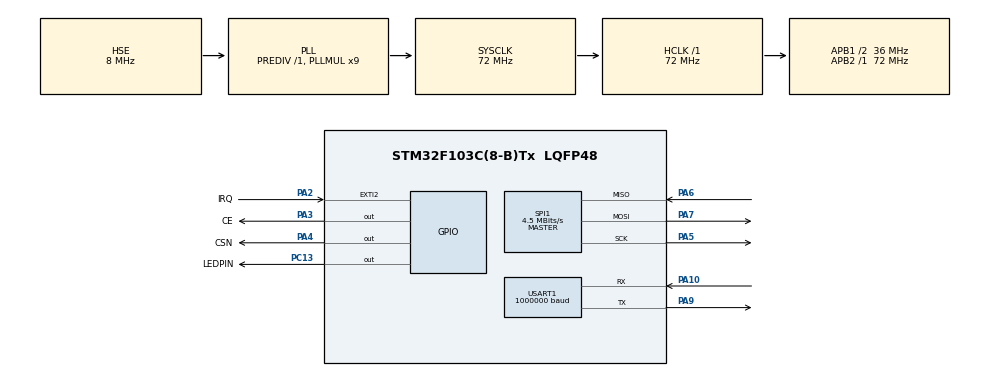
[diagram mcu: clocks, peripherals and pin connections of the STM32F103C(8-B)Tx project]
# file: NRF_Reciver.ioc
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Mcu.Family=STM32F1
RCC.PLLSourceVirtual=RCC_PLLSOURCE_HSE
PA6.Mode=Full_Duplex_Master
PA7.Mode=Full_Duplex_Master
PD1-OSC_OUT.Mode=HSE-External-Oscillator
PA10.Mode=Asynchronous
SPI1.VirtualType=VM_MASTER
USART1.BaudRate=1000000
PC13-TAMPER-RTC.Signal=GPIO_Output
PD0-OSC_IN.Signal=RCC_OSC_IN
RCC.APB1CLKDivider=RCC_HCLK_DIV2
RCC.SYSCLKSource=RCC_SYSCLKSOURCE_PLLCLK
ProjectManager.StackSize=0x400
PD1-OSC_OUT.Signal=RCC_OSC_OUT
PA13.Signal=SYS_JTMS-SWDIO
PA9.Mode=Asynchronous
ProjectManager.TargetToolchain=STM32CubeIDE
SPI1.Direction=SPI_DIRECTION_2LINES
RCC.HCLKFreq_Value=72000000
RCC.APB2TimFreq_Value=72000000
PA9.Signal=USART1_TX
SPI1.CalculateBaudRate=4.5 MBits/s
RCC.USBFreq_Value=72000000
RCC.AHBFreq_Value=72000000
PD0-OSC_IN.Mode=HSE-External-Oscillator
PA5.Signal=SPI1_SCK
board=custom
PC13-TAMPER-RTC.GPIO_Label=LEDPIN
RCC.PLLMUL=RCC_PLL_MUL9
RCC.APB2Freq_Value=72000000
SPI1.Mode=SPI_MODE_MASTER
PA14.Mode=Serial_Wire
PA13.Mode=Serial_Wire
Mcu.Name=STM32F103C(8-B)Tx
PA2.Signal=GPXTI2
PA4.Signal=GPIO_Output
RCC.SYSCLKFreq_VALUE=72000000
Mcu.Package=LQFP48
PA6.Signal=SPI1_MISO
USART1.VirtualMode=VM_ASYNC
PA2.GPIO_Label=IRQ
PA10.Signal=USART1_RX
PA14.Signal=SYS_JTCK-SWCLK
ProjectManager.HeapSize=0x200
PA2.GPIO_ModeDefaultEXTI=GPIO_MODE_IT_FALLING
NVIC.PriorityGroup=NVIC_PRIORITYGROUP_4
RCC.APB1TimFreq_Value=72000000
RCC.APB1Freq_Value=36000000
SPI1.BaudRatePrescaler=SPI_BAUDRATEPRESCALER_16
PA4.GPIO_Label=CSN
PA3.GPIO_Label=CE
PA3.Signal=GPIO_Output
PA5.Mode=Full_Duplex_Master
PA7.Signal=SPI1_MOSI

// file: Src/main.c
/* USER CODE BEGIN Header */
/**
  ******************************************************************************
  * @file           : main.c
  * @brief          : Main program body
  ******************************************************************************
  * @attention
  *
  * <h2><center>&copy; Copyright (c) 2019 STMicroelectronics.
  * All rights reserved.</center></h2>
  *
  * This software component is licensed by ST under BSD 3-Clause license,
  * the "License"; You may not use this file except in compliance with the
  * License. You may obtain a copy of the License at:
  *                        opensource.org/licenses/BSD-3-Clause
  *
  ******************************************************************************
  */
/* USER CODE END Header */

#include "main.h"

/* USER CODE BEGIN Includes */
#include "RF24.h"
/* USER CODE END Includes */

SPI_HandleTypeDef hspi1;

UART_HandleTypeDef huart1;

void SystemClock_Config(void);
static void MX_GPIO_Init(void);
static void MX_SPI1_Init(void);
static void MX_USART1_UART_Init(void);

/* USER CODE BEGIN 0 */
void HAL_GPIO_EXTI_Callback(uint16_t GPIO_Pin)
{
	if(GPIO_Pin	== IRQ_Pin)
	{
		HAL_UART_Transmit(&huart1, (uint8_t*)"IRQ\n", strlen("IRQ\n"), 1000);
	}
}
/* USER CODE END 0 */

int main(void)
{

  /* MCU Configuration--------------------------------------------------------*/

  /* Reset of all peripherals, Initializes the Flash interface and the Systick. */
  HAL_Init();

  /* Configure the system clock */
  SystemClock_Config();

  /* Initialize all configured peripherals */
  MX_GPIO_Init();
  MX_SPI1_Init();
  MX_USART1_UART_Init();
  /* USER CODE BEGIN 2 */
  DWT_Init(); // счётчик для микросекундных пауз

  //const uint64_t pipe0 = 0x787878787878;
  //const uint64_t pipe1 = 0xE8E8F0F0E2LL; // адрес первой трубы
  //const uint64_t pipe2 = 0xE8E8F0F0A2LL;
  //const uint64_t pipe3 = 0xE8E8F0F0D1LL;
  //const uint64_t pipe4 = 0xE8E8F0F0C3LL;
  //const uint64_t pipe5 = 0xE8E8F0F0E7LL;
  const uint64_t pipe1 = 0xE8E8F0F0ABLL;

  uint8_t res = isChipConnected(); // проверяет подключён ли модуль к SPI

  char str[64] = {0,};
  snprintf(str, 64, "Connected: %s\n", 1 ? "OK" : "NOT OK");
  HAL_UART_Transmit(&huart1, (uint8_t*)str, strlen(str), 1000);

  res = NRF_Init(); // инициализация

  snprintf(str, 64, "Init: %s\n", res > 0 && res < 255 ? "OK" : "NOT OK");
  HAL_UART_Transmit(&huart1, (uint8_t*)str, strlen(str), 1000);

  ////////////// SET ////////////////
  setAutoAck(true);				//автоподтверждение
  ///setAutoAckPipe(1, true);		//автоподтверждение для 1-й трубы
  ///enableAckPayload();			//разрешить добавлять полезную нагрузку в атоподтверждении
  enableAckPayload();  // Разрешение отправки нетипового ответа передатчику;
  // Автоматически включает динамический размер полезной нагрузки для труб №0 и №1,
  //для остальных труб нужно запускать — enableDynamicPayloads().
  ///enableDynamicPayloads();  //включить динамический размер полезной нагрузки.
  ///disableDynamicPayloads();   //oтключает динамическую полезную нагрузку во всей системе.
  //disableCRC(); 				// отключить CRC,
  // перед этим запустить setAutoAck(false) и disableDynamicPayloads().
  // setRetries(2, 3);			//кол-во повторных попыток при неудачной отправке
  setDataRate(RF24_250KBPS); 		//скорость передачи данных
  //RF24_250KBPS
  //RF24_1MBPS
  //RF24_2MBPS
  setPALevel(RF24_PA_MIN);		//мощность передатчика
  //RF24_PA_MIN = -18dBm
  //RF24_PA_LOW = -12dBm
  //RF24_PA_HIGH = -6dBM
  //RF24_PA_MAX = 0dBm
  setCRCLength(RF24_CRC_16);
  //RF24_CRC_8
  //RF24_CRC_16
  setChannel(0x5); 				//частотный канал
  ///setPayloadSize(6);			//размер полезной нагрузки в байтах
  //при отключённой динамической полезной нагрузке
  //powerDown();				//переводит модуль в режим низкого энергопотребления
  //powerUp();					//возвращает к жизни
  setAddressWidth(5);			//установить длину идентификатора трубы
  //3 — 24 бита
  //4 — 32 бита
  //5 — 40 бит
  ///openWritingPipe(pipe1);   //открытие трубы на передатчике (Только для передатчика)
  openReadingPipe(1, pipe1);	//открыть трубу №1 на приёмнике. В скобках номер трубы и индетификатор
//Если нужно открыть несколько труб, то просто добавить функции с другим номером и идентификатором.
  startListening(); 			//включить прослушивание труб на приёмнике
  ///////////////////////////////////

  ////////////////////////// Вывод всяких статусов, для работы не нужно /////////////////////////////
  uint8_t status = get_status();
  snprintf(str, 64, "get_status: 0x%02x\n", status);
  HAL_UART_Transmit(&huart1, (uint8_t*)str, strlen(str), 1000);

  status = getPALevel();
  snprintf(str, 64, "getPALevel: 0x%02x  ", status);
  HAL_UART_Transmit(&huart1, (uint8_t*)str, strlen(str), 1000);

  if(status == 0x00)
  {
	  HAL_UART_Transmit(&huart1, (uint8_t*)"RF24_PA_MIN\n", strlen("RF24_PA_MIN\n"), 1000);
  }
  else if(status == 0x01)
  {
	  HAL_UART_Transmit(&huart1, (uint8_t*)"RF24_PA_LOW\n", strlen("RF24_PA_LOW\n"), 1000);
  }
  else if(status == 0x02)
  {
	  HAL_UART_Transmit(&huart1, (uint8_t*)"RF24_PA_HIGH\n", strlen("RF24_PA_HIGH\n"), 1000);
  }
  else if(status == 0x03)
  {
	  HAL_UART_Transmit(&huart1, (uint8_t*)"RF24_PA_MAX\n", strlen("RF24_PA_MAX\n"), 1000);
  }

  status = getChannel();
  snprintf(str, 64, "getChannel: 0x%02x № %d\n", status, status);
  HAL_UART_Transmit(&huart1, (uint8_t*)str, strlen(str), 1000);

  status = getDataRate();
  snprintf(str, 64, "getDataRate: 0x%02x  ", status);
  HAL_UART_Transmit(&huart1, (uint8_t*)str, strlen(str), 1000);

  if(status == 0x02)
  {
	  HAL_UART_Transmit(&huart1, (uint8_t*)"RF24_250KBPS\n", strlen("RF24_250KBPS\n"), 1000);
  }
  else if(status == 0x01)
  {
	  HAL_UART_Transmit(&huart1, (uint8_t*)"RF24_2MBPS\n", strlen("RF24_2MBPS\n"), 1000);
  }
  else
  {
	  HAL_UART_Transmit(&huart1, (uint8_t*)"RF24_1MBPS\n", strlen("RF24_1MBPS\n"), 1000);
  }

  status = getPayloadSize();
  snprintf(str, 64, "getPayloadSize: %d\n", status);
  HAL_UART_Transmit(&huart1, (uint8_t*)str, strlen(str), 1000);

  status = getCRCLength();
  snprintf(str, 64, "getCRCLength: 0x%02x  ", status);
  HAL_UART_Transmit(&huart1, (uint8_t*)str, strlen(str), 1000);

  if(status == 0x00)
  {
	  HAL_UART_Transmit(&huart1, (uint8_t*)"RF24_CRC_DISABLED\n", strlen("RF24_CRC_DISABLED\n"), 1000);
  }
  else if(status == 0x01)
  {
	  HAL_UART_Transmit(&huart1, (uint8_t*)"RF24_CRC_8\n", strlen("RF24_CRC_8\n"), 1000);
  }
  else if(status == 0x02)
  {
	  HAL_UART_Transmit(&huart1, (uint8_t*)"RF24_CRC_16\n", strlen("RF24_CRC_16\n"), 1000);
  }
  /////////////////////////////////////////////////////////////////////////////////////////////////////
  maskIRQ(true, true, true); // маскируем прерывания
  /* USER CODE END 2 */

  /* Infinite loop */
  /* USER CODE BEGIN WHILE */
  while (1)
  {
	///////////////////////////////////// ПРИЁМ /////////////////////////////////////////////
//	uint8_t nrf_data[32] = {0,}; // буфер указываем максимального размера
	int16_t nrf_data[32] = {0,}; // буфер указываем максимального размера
//	static uint8_t remsg = 0;
	uint8_t	count=32;			//количество принимаемых байт
	uint8_t pipe_num = 1;
	/////////////////////////////////////////////////////////////////////////////////////////////////////
	int16_t message = 111;  //Вот какой потенциальной длины сообщение - uint32_t!
	//туда можно затолкать значение температуры от датчика или еще что-то полезное.
	writeAckPayload( 1, &message, sizeof(message) ); // Грузим сообщение для автоотправки;
	/////////////////////////////////////////////////////////////////////////////////////////////////////

	if(available(&pipe_num)) // проверяем пришло ли что-то
	        {
			HAL_GPIO_TogglePin(LEDPIN_GPIO_Port, LEDPIN_Pin);

			read(&nrf_data, count); // Читаем данные в массив nrf_data и указываем сколько байт читать

			snprintf(str, 128, "data[0]=%d data[1]=%d data[2]=%d data[3]%d data[4]%d\n", nrf_data[0], nrf_data[1], nrf_data[2],nrf_data[3], nrf_data[4]);
			HAL_UART_Transmit(&huart1, (uint8_t*)str, strlen(str), 1000);
//			HAL_UART_Transmit(&huart1, (uint8_t*)"pipe 1\n", strlen("pipe 1\n"), 1000);
	        }

    /* USER CODE END WHILE */

  }
}

void SystemClock_Config(void)
{
  RCC_OscInitTypeDef RCC_OscInitStruct = {0};
  RCC_ClkInitTypeDef RCC_ClkInitStruct = {0};

  /** Initializes the CPU, AHB and APB busses clocks
  */
  RCC_OscInitStruct.OscillatorType = RCC_OSCILLATORTYPE_HSE;
  RCC_OscInitStruct.HSEState = RCC_HSE_ON;
  RCC_OscInitStruct.HSEPredivValue = RCC_HSE_PREDIV_DIV1;
  RCC_OscInitStruct.HSIState = RCC_HSI_ON;
  RCC_OscInitStruct.PLL.PLLState = RCC_PLL_ON;
  RCC_OscInitStruct.PLL.PLLSource = RCC_PLLSOURCE_HSE;
  RCC_OscInitStruct.PLL.PLLMUL = RCC_PLL_MUL9;
  if (HAL_RCC_OscConfig(&RCC_OscInitStruct) != HAL_OK)
  {
    Error_Handler();
  }
  /** Initializes the CPU, AHB and APB busses clocks
  */
  RCC_ClkInitStruct.ClockType = RCC_CLOCKTYPE_HCLK|RCC_CLOCKTYPE_SYSCLK
                              |RCC_CLOCKTYPE_PCLK1|RCC_CLOCKTYPE_PCLK2;
  RCC_ClkInitStruct.SYSCLKSource = RCC_SYSCLKSOURCE_PLLCLK;
  RCC_ClkInitStruct.AHBCLKDivider = RCC_SYSCLK_DIV1;
  RCC_ClkInitStruct.APB1CLKDivider = RCC_HCLK_DIV2;
  RCC_ClkInitStruct.APB2CLKDivider = RCC_HCLK_DIV1;

  if (HAL_RCC_ClockConfig(&RCC_ClkInitStruct, FLASH_LATENCY_2) != HAL_OK)
  {
    Error_Handler();
  }
}

static void MX_SPI1_Init(void)
{

  /* SPI1 parameter configuration*/
  hspi1.Instance = SPI1;
  hspi1.Init.Mode = SPI_MODE_MASTER;
  hspi1.Init.Direction = SPI_DIRECTION_2LINES;
  hspi1.Init.DataSize = SPI_DATASIZE_8BIT;
  hspi1.Init.CLKPolarity = SPI_POLARITY_LOW;
  hspi1.Init.CLKPhase = SPI_PHASE_1EDGE;
  hspi1.Init.NSS = SPI_NSS_SOFT;
  hspi1.Init.BaudRatePrescaler = SPI_BAUDRATEPRESCALER_16;
  hspi1.Init.FirstBit = SPI_FIRSTBIT_MSB;
  hspi1.Init.TIMode = SPI_TIMODE_DISABLE;
  hspi1.Init.CRCCalculation = SPI_CRCCALCULATION_DISABLE;
  hspi1.Init.CRCPolynomial = 10;
  if (HAL_SPI_Init(&hspi1) != HAL_OK)
  {
    Error_Handler();
  }

}

static void MX_USART1_UART_Init(void)
{

  huart1.Instance = USART1;
  huart1.Init.BaudRate = 1000000;
  huart1.Init.WordLength = UART_WORDLENGTH_8B;
  huart1.Init.StopBits = UART_STOPBITS_1;
  huart1.Init.Parity = UART_PARITY_NONE;
  huart1.Init.Mode = UART_MODE_TX_RX;
  huart1.Init.HwFlowCtl = UART_HWCONTROL_NONE;
  huart1.Init.OverSampling = UART_OVERSAMPLING_16;
  if (HAL_UART_Init(&huart1) != HAL_OK)
  {
    Error_Handler();
  }

}

static void MX_GPIO_Init(void)
{
  GPIO_InitTypeDef GPIO_InitStruct = {0};

  /* GPIO Ports Clock Enable */
  __HAL_RCC_GPIOC_CLK_ENABLE();
  __HAL_RCC_GPIOD_CLK_ENABLE();
  __HAL_RCC_GPIOA_CLK_ENABLE();

  /*Configure GPIO pin Output Level */
  HAL_GPIO_WritePin(LEDPIN_GPIO_Port, LEDPIN_Pin, GPIO_PIN_RESET);

  /*Configure GPIO pin Output Level */
  HAL_GPIO_WritePin(GPIOA, CE_Pin|CSN_Pin, GPIO_PIN_RESET);

  /*Configure GPIO pin : LEDPIN_Pin */
  GPIO_InitStruct.Pin = LEDPIN_Pin;
  GPIO_InitStruct.Mode = GPIO_MODE_OUTPUT_PP;
  GPIO_InitStruct.Pull = GPIO_NOPULL;
  GPIO_InitStruct.Speed = GPIO_SPEED_FREQ_LOW;
  HAL_GPIO_Init(LEDPIN_GPIO_Port, &GPIO_InitStruct);

  /*Configure GPIO pin : IRQ_Pin */
  GPIO_InitStruct.Pin = IRQ_Pin;
  GPIO_InitStruct.Mode = GPIO_MODE_IT_FALLING;
  GPIO_InitStruct.Pull = GPIO_NOPULL;
  HAL_GPIO_Init(IRQ_GPIO_Port, &GPIO_InitStruct);

  /*Configure GPIO pins : CE_Pin CSN_Pin */
  GPIO_InitStruct.Pin = CE_Pin|CSN_Pin;
  GPIO_InitStruct.Mode = GPIO_MODE_OUTPUT_PP;
  GPIO_InitStruct.Pull = GPIO_NOPULL;
  GPIO_InitStruct.Speed = GPIO_SPEED_FREQ_LOW;
  HAL_GPIO_Init(GPIOA, &GPIO_InitStruct);

}

void Error_Handler(void)
{
}

/************************ (C) COPYRIGHT STMicroelectronics *****END OF FILE****/
